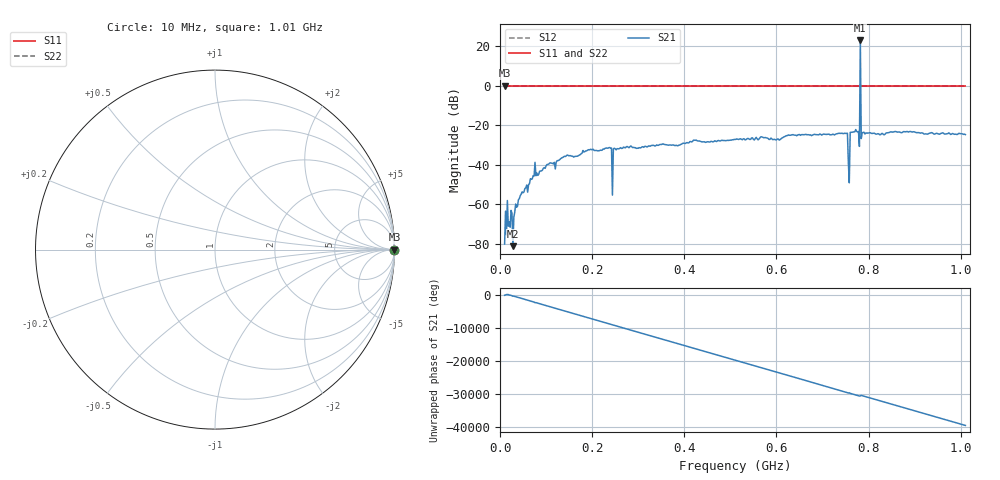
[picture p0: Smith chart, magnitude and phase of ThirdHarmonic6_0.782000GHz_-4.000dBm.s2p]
! 8/16/2025 2:05:47 AM
! C:\ANRITSUVNA\TEMP\TEMP.S2P
! CHANNEL.1
! TR.MEASUREMENT
! RAW.DATA
! RF.CORRECTION.OFF
! AVERAGING.OFF
! IF.BANDWIDTH: 5KHZ
! SWEEPTYPE:  FREQ.SWEEP(Linear)
! Reference Plane Port Info
! PORT:  PORT1  PORT2
! DISTANCE:  0  m  0  m
! TIME:  0  s  0  s
! PHASE.OFFSET:  0  deg.  0  deg.
! LOSS:  0  dB  0  dB
! REF.LOSS:  0  dB  0  dB
! REF.FREQ:  0  Hz  0  Hz
! Power Info
! POWER:  -20  dBm  -20  dBm
! EFF.POWER:  -20  dBm  -20  dBm
! SOURCE.ATTEN:  0  dB  0  dB
! TEST.ATTEN:  0  dB  0  dB
# GHZ S RI R 50.0
! FREQ.GHZ  S11RE  S11IM  S21RE  S21IM  S12RE  S12IM  S22RE  S22IM
!; PortSelection: Port_12
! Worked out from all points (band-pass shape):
!   501 points, 10 MHz to 1.01 GHz, reference 50 ohm
!   highest |S21| = 22.81 dB at 782 MHz (marker M1); lowest = -81.1 dB at 28 MHz (marker M2)
!   |S21| within 3 dB of the highest: 781.8879 MHz to 782.121 MHz (233.1 kHz wide, 0.0298 % of centre)
!   lowest |S11| = 0.0 dB at 10 MHz (marker M3)
!   |S11| at or under -10 dB: nowhere
!   |S22| runs from 0.0 to 0.0 dB; largest |S21 - S12| = 15
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0.01  1 0  0.0001 -2.7e-06  1 0  1 0
0.016  1 0  -0.00111 -0.000568  1 0  1 0
0.028  1 0  1.57e-05 8.65e-05  1 0  1 0
0.076  1 0  0.00213 -0.0113  1 0  1 0
0.178  1 0  -0.019 -0.00472  1 0  1 0
0.238  1 0  0.00654 -0.0265  1 0  1 0
0.248  1 0  -0.0125 -0.023  1 0  1 0
0.25  1 0  -0.0241 0.00791  1 0  1 0
0.344  1 0  0.0305 -0.00578  1 0  1 0
0.51  1 0  -0.0413 0.0139  1 0  1 0
0.678  1 0  -0.0218 -0.0518  1 0  1 0
0.75  1 0  -0.0435 -0.0442  1 0  1 0
0.754  1 0  0.0263 0.0567  1 0  1 0
0.76  1 0  -0.065 -0.00965  1 0  1 0
0.764  1 0  0.0616 0.0248  1 0  1 0
0.776  1 0  -0.0173 -0.0657  1 0  1 0
0.778  1 0  -0.069 0.00654  1 0  1 0
0.782  1 0  -9.432 10.1  1 0  1 0
0.786  1 0  -0.0553 -0.032  1 0  1 0
0.788  1 0  -0.0425 0.0501  1 0  1 0
0.844  1 0  0.0473 0.0448  1 0  1 0
1.01  1 0  -0.0565 -0.0127  1 0  1 0
